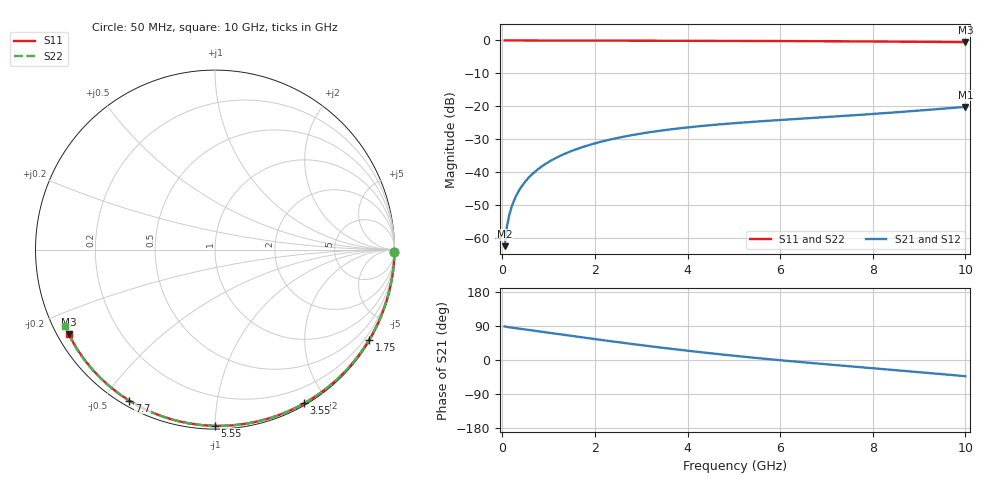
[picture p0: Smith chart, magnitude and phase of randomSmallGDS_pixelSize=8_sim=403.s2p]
! freq	dB(S11)	phase(S11)	dB(S12)	phase(S12)
!  dB(S21)	phase(S21)	dB(S22)	phase(S22)
!S-par simulation data
#  GHz  S  DB  R 50
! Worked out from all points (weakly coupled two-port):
!   200 points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, 50 MHz to 10 GHz, reference 50 ohm
!   highest |S21| = -20.20 dB at 10 GHz (marker M1); lowest = -62.6 dB at 50 MHz (marker M2)
!   lowest |S11| = -0.5 dB at 10 GHz (marker M3), VSWR 32.79, Z = 1.63 - j13.4 ohm
!   |S11| at or under -10 dB: nowhere
!   |S22| runs from -0.5 to 0.0 dB; largest |S21 - S12| = 0
!   S11 on the Smith chart (normalised r, x): 50 MHz: open; 1.75 GHz: 0.03, -3.68; 3.55 GHz: 0.02, -1.73; 5.55 GHz: 0.02, -1.00; 7.7 GHz: 0.02, -0.58; 10 GHz: 0.03, -0.27
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0.05  -0.00 -0.9  -62.60 88.6  -62.60 88.6  -0.00 -0.9
0.1  -0.00 -1.8  -56.63 87.3  -56.63 87.3  -0.00 -1.8
0.15  -0.00 -2.7  -53.17 86.3  -53.17 86.3  -0.00 -2.7
0.2  -0.00 -3.5  -50.72 85.4  -50.72 85.4  -0.00 -3.6
0.25  -0.00 -4.4  -48.81 84.6  -48.81 84.6  -0.00 -4.5
0.35  -0.00 -6.2  -45.94 83.0  -45.94 83.0  -0.00 -6.3
0.5  -0.01 -8.8  -42.88 80.5  -42.88 80.5  -0.01 -9.0
0.7  -0.01 -12.3  -40.01 77.2  -40.01 77.2  -0.01 -12.5
1  -0.02 -17.5  -36.98 72.0  -36.98 72.0  -0.02 -17.8
1.35  -0.03 -23.6  -34.48 66.1  -34.48 66.1  -0.03 -23.9
1.75  -0.04 -30.4  -32.37 59.3  -32.37 59.3  -0.04 -30.9
2.5  -0.06 -43.0  -29.63 47.0  -29.63 47.0  -0.06 -43.6
3.4  -0.08 -57.6  -27.48 33.1  -27.48 33.1  -0.08 -58.5
3.55  -0.09 -59.9  -27.20 30.9  -27.20 30.9  -0.09 -60.9
4.3  -0.11 -71.6  -26.03 20.4  -26.03 20.4  -0.11 -72.7
5.05  -0.14 -82.8  -25.13 10.6  -25.13 10.6  -0.14 -84.1
5.55  -0.16 -90.0  -24.62 4.6  -24.62 4.6  -0.16 -91.5
6.7  -0.22 -106.1  -23.58 -8.2  -23.58 -8.2  -0.22 -107.9
7.7  -0.29 -119.6  -22.66 -18.5  -22.66 -18.5  -0.29 -121.7
8.35  -0.34 -128.2  -22.02 -25.1  -22.02 -25.1  -0.35 -130.6
9.2  -0.43 -139.4  -21.11 -34.0  -21.11 -34.0  -0.44 -142.1
10  -0.53 -149.9  -20.20 -42.9  -20.20 -42.9  -0.54 -153.0
